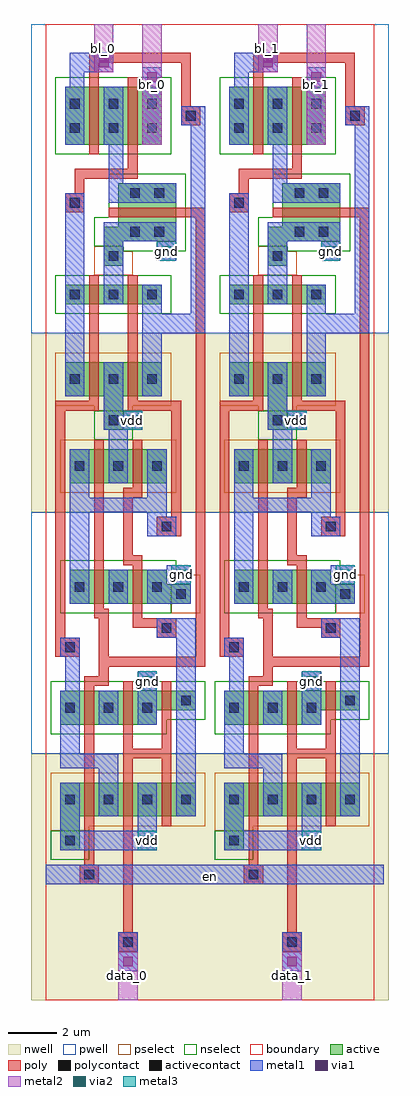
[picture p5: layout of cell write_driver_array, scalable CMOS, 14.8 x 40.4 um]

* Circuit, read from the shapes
.subckt write_driver_array bl_0 bl_1 br_0 br_1 data_0 data_1 en gnd vdd
M1 n1 en n2 gnd nfet w=1.4u l=0.4u
M2 gnd n2 n3 gnd nfet w=0.8u l=0.4u
M3 n4 n5 bl_0 gnd nfet w=2.4u l=0.4u
M4 n6 en n7 gnd nfet w=1.4u l=0.4u
M5 n4 en gnd gnd nfet w=2.4u l=0.4u
M6 gnd data_0 n1 gnd nfet w=1.4u l=0.4u
M7 n5 n7 gnd gnd nfet w=0.8u l=0.4u
M8 br_0 n3 n4 gnd nfet w=2.4u l=0.4u
M9 gnd n8 n6 gnd nfet w=1.4u l=0.4u
M10 n8 data_0 gnd gnd nfet w=0.8u l=0.4u
M11 n9 en n10 gnd nfet w=1.4u l=0.4u
M12 gnd n10 n11 gnd nfet w=0.8u l=0.4u
M13 n12 n13 bl_1 gnd nfet w=2.4u l=0.4u
M14 n14 en n15 gnd nfet w=1.4u l=0.4u
M15 n12 en gnd gnd nfet w=2.4u l=0.4u
M16 gnd data_1 n9 gnd nfet w=1.4u l=0.4u
M17 n13 n15 gnd gnd nfet w=0.8u l=0.4u
M18 br_1 n11 n12 gnd nfet w=2.4u l=0.4u
M19 gnd n16 n14 gnd nfet w=1.4u l=0.4u
M20 n16 data_1 gnd gnd nfet w=0.8u l=0.4u
M21 n2 en vdd vdd pfet w=1.4u l=0.4u
M22 vdd n2 n3 vdd pfet w=1.4u l=0.4u
M23 vdd en n7 vdd pfet w=1.4u l=0.4u
M24 vdd data_0 n2 vdd pfet w=1.4u l=0.4u
M25 n5 n7 vdd vdd pfet w=1.4u l=0.4u
M26 n7 n8 vdd vdd pfet w=1.4u l=0.4u
M27 n8 data_0 vdd vdd pfet w=1.4u l=0.4u
M28 n10 en vdd vdd pfet w=1.4u l=0.4u
M29 vdd n10 n11 vdd pfet w=1.4u l=0.4u
M30 vdd en n15 vdd pfet w=1.4u l=0.4u
M31 vdd data_1 n10 vdd pfet w=1.4u l=0.4u
M32 n13 n15 vdd vdd pfet w=1.4u l=0.4u
M33 n15 n16 vdd vdd pfet w=1.4u l=0.4u
M34 n16 data_1 vdd vdd pfet w=1.4u l=0.4u
.ends

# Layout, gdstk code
import gdstk
lib = gdstk.Library(unit=1e-6, precision=1e-09)
def R(c, l, rs):  # rectangles x0, y0, x1, y1
    for r in rs: c.add(gdstk.rectangle(r[:2], r[2:], *l))
def A(c, l, x, y, w, h, nx, ny, dx, dy):  # array of equal rectangles
    R(c, l, [(x+i*dx, y+j*dy, x+i*dx+w, y+j*dy+h) for i in range(nx) for j in range(ny)])
pwell = (41, 0)
nwell = (42, 0)
active = (43, 0)
pselect = (44, 0)
nselect = (45, 0)
poly = (46, 0)
polycontact = (47, 0)
activecontact = (48, 0)
metal1 = (49, 0)
via1 = (50, 0)
metal2 = (51, 0)
via2 = (61, 0)
metal3 = (62, 0)
boundary = (63, 0)

write_driver = lib.new_cell('write_driver')
R(write_driver, pwell, [(-0.6,10.2,7.4,20.2), (-0.6,27.6,7.4,40.4)])
R(write_driver, nwell, [(-0.6,0,7.4,10.2), (-0.6,20.2,7.4,27.6)])
R(write_driver, active, [(0.6,6.2,1.4,7.6), (0.6,7.6,6.2,9), (0.6,11.4,4.6,12), (0.6,12,6.2,12.8), (1,16.4,6,17.2), (1,17.2,5,17.8), (1,21.4,5,22.8), (2.4,23.6,3.2,25), (0.8,25,4.8,26.4), (0.8,28.8,4.8,29.6), (2.4,30.4,3.2,31.4), (2.4,31.4,5.4,32), (3,32,5.4,33.8), (0.8,35.4,4.8,37.8)])
R(write_driver, pselect, [(0.2,7,1.8,7.2), (0.2,7.2,6.6,9.4), (5.2,16,6.4,17.2), (5.4,17.2,6.4,17.6), (0.6,21,5.4,23.2), (2,24.4,3.6,24.6), (0.4,24.6,5.2,26.8), (2,30,3.6,31), (2,31,3.2,31.2)])
R(write_driver, nselect, [(0.2,5.8,1.8,7), (0.2,11,5,11.6), (0.2,11.6,6.6,13.2), (0.6,16,5.2,17.2), (0.6,17.2,5.4,18.2), (2,23.2,3.6,24.4), (0.4,28.4,5.2,30), (3.2,31,5.8,31.2), (2,31.2,5.8,32.4), (2.6,32.4,5.8,34.2), (0.4,35,5.2,38.2)])
R(write_driver, poly, [(3,2,3.8,2.8), (3.2,2.8,3.6,10), (1.4,4.8,2.2,5.6), (1.6,5.6,2,13), (4.8,7.2,5.2,10), (3.2,10,5.2,10.4), (3.2,10.4,3.6,13.2), (4.8,10.4,5.2,13.2), (1.6,13,2.6,13.4), (2.2,13.4,2.6,13.8), (2.2,13.8,6.6,14.2), (0.4,14.2,1.4,15), (2.2,14.2,2.6,15.8), (6.2,14.2,6.6,32.4), (0.4,15,0.8,24.4), (4.6,15,5.4,15.4), (3.6,15.4,5.4,15.8), (2,15.8,2.6,16.2), (3.6,15.8,4,18), (2,16.2,2.4,23.2), (3.2,18,4,18.4), (3.2,18.4,3.6,20.8), (4.6,19.2,5.6,20), (5.2,20,5.6,24.4), (3.2,20.8,4,21.2), (3.6,21.2,4,23.2), (0.4,24.4,2.2,24.8), (3.4,24.4,5.6,24.8), (1.8,24.8,2.2,30), (3.4,24.8,3.8,30), (2.6,32.4,6.6,32.8), (0.8,32.6,1.6,33.4), (1.2,33.4,1.6,34), (1.2,34,3.8,34.4), (3.4,34.4,3.8,38.2), (1.8,35,2.2,38.8), (5.6,36.2,6.4,37), (5.6,37,6,38.8), (1.8,38.8,6,39.2)])
R(write_driver, polycontact, [(3.2,2.2,3.6,2.6), (1.6,5,2,5.4), (0.8,14.4,1.2,14.8), (4.8,15.2,5.2,15.6), (4.8,19.4,5.2,19.8), (1,32.8,1.4,33.2), (5.8,36.4,6.2,36.8)])
A(write_driver, activecontact, 0.8, 8.1, 0.4, 0.4, 4, 1, 1.6, 0)
A(write_driver, activecontact, 0.8, 11.9, 0.4, 0.4, 3, 1, 1.6, 0)
A(write_driver, activecontact, 1.2, 16.9, 0.4, 0.4, 3, 2, 1.6, 5)
A(write_driver, activecontact, 1, 25.5, 0.4, 0.4, 3, 2, 1.6, 3.5)
A(write_driver, activecontact, 1, 35.9, 0.4, 0.4, 3, 2, 1.6, 1)
R(write_driver, activecontact, [(0.8,6.4,1.2,6.8), (5.6,12.2,6,12.6), (5.4,16.6,5.8,17), (2.6,23.8,3,24.2), (2.6,30.6,3,31), (3.5,31.6,3.9,32), (4.5,31.6,4.9,32), (3.5,33.2,3.9,33.6), (4.5,33.2,4.9,33.6)])
R(write_driver, metal1, [(3,1.2,3.8,2.8), (0,4.8,7.2,5.6), (0,4.8,7.2,5.6), (0.6,6.2,4.6,7), (0.6,7,1.4,9), (3.8,7,4.6,9), (2.2,7.6,3,9.6), (5.4,7.6,6.2,15), (0.6,9.6,3,10.2), (0.6,10.2,1.4,12.8), (2.2,11.4,3,12.8), (3.8,11.4,4.6,13.6), (0.8,12.8,1.4,14.2), (0.6,14.2,1.4,15), (4.6,15,6.2,15.8), (1,16.4,1.8,20.2), (2.6,16.4,3.4,17.8), (4.2,16.4,6,17.8), (5,17.8,6,18), (4.2,19.2,5.4,20), (4.2,20,5,20.2), (1,20.2,5,20.8), (1,20.8,1.8,22.8), (4.2,20.8,5,22.8), (2.6,21.4,3.4,23.6), (2.4,23.6,4,24.4), (2.4,24.4,3.2,26.4), (0.8,25,1.6,33.4), (4,25,4.8,27.6), (4,27.6,6.6,28.4), (4,28.4,4.8,29.6), (6,28.4,6.6,36.2), (2.4,28.8,3.2,31.4), (4.6,30.6,5.4,31.4), (2.4,31.4,5.4,32.2), (2.6,33,5.4,33.8), (2.6,33.8,3.2,35.4), (0.8,35.4,1.6,37.8), (2.4,35.4,3.2,37.8), (4,35.4,4.8,38.6), (5.6,36.2,6.6,37), (1,37.8,1.6,38.4), (1,38.4,2.8,39.2)])
R(write_driver, via1, [(3.2,1.4,3.6,1.8), (4,6.4,4.4,6.8), (4,13,4.4,13.4), (5.4,17.4,5.8,17.8), (3.4,23.8,3.8,24.2), (4.8,30.8,5.2,31.2), (4.2,38,4.6,38.4), (2.2,38.6,2.6,39)])
R(write_driver, metal2, [(3,0,3.8,2), (3,0,3.8,2), (3.8,6.2,4.6,7), (3.8,6.2,4.6,7), (3.8,12.8,4.6,13.6), (3.8,12.8,4.6,13.6), (5.2,17.2,6,18), (5.2,17.2,6,18), (3.2,23.6,4,24.4), (3.2,23.6,4,24.4), (4.6,30.6,5.4,31.4), (4.6,30.6,5.4,31.4), (4,35.4,4.8,40.4), (4,35.4,4.8,40.4), (2,38.4,2.8,40.4), (2,38.4,2.8,40.4)])
R(write_driver, boundary, [(0,0,6.8,40.4)])
write_driver.add(gdstk.Label('din', (3,0.2), layer=51, texttype=0))
write_driver.add(gdstk.Label('en', (0.4,5), layer=49, texttype=0))
write_driver.add(gdstk.Label('bl', (2.4,40), layer=51, texttype=0))
write_driver.add(gdstk.Label('br', (4.4,40), layer=51, texttype=0))
write_driver.add(gdstk.Label('gnd', (4.2,13.2), layer=51, texttype=0))
write_driver.add(gdstk.Label('gnd', (5.6,17.6), layer=51, texttype=0))
write_driver.add(gdstk.Label('vdd', (4.2,6.6), layer=51, texttype=0))
write_driver.add(gdstk.Label('vdd', (3.6,24), layer=51, texttype=0))
write_driver.add(gdstk.Label('gnd', (5,31), layer=51, texttype=0))
write_driver.add(gdstk.Label('din', (3.4,1), layer=51, texttype=0))
write_driver.add(gdstk.Label('bl', (2.4,39.4), layer=51, texttype=0))
write_driver.add(gdstk.Label('br', (4.4,37.9), layer=51, texttype=0))
write_driver.add(gdstk.Label('en', (3.6,5.2), layer=49, texttype=0))
write_driver.add(gdstk.Label('gnd', (4.2,13.2), layer=51, texttype=0))
write_driver.add(gdstk.Label('gnd', (5.6,17.6), layer=51, texttype=0))
write_driver.add(gdstk.Label('gnd', (5,31), layer=51, texttype=0))
write_driver.add(gdstk.Label('vdd', (4.2,6.6), layer=51, texttype=0))
write_driver.add(gdstk.Label('vdd', (3.6,24), layer=51, texttype=0))

metal2_via2_metal3_1x1 = lib.new_cell('metal2_via2_metal3_1x1')
R(metal2_via2_metal3_1x1, metal2, [(0,0,0.8,0.8)])
R(metal2_via2_metal3_1x1, via2, [(0.2,0.2,0.6,0.6)])
R(metal2_via2_metal3_1x1, metal3, [(0,0,0.8,0.8)])

write_driver_array = lib.new_cell('write_driver_array')
R(write_driver_array, metal1, [(0,4.8,13.6,5.4)])
R(write_driver_array, metal2, [(3,0,3.8,2), (9.8,0,10.6,2), (4,35.4,4.8,40.4), (10.8,35.4,11.6,40.4), (2,38.4,2.8,40.4), (8.8,38.4,9.6,40.4)])
R(write_driver_array, metal3, [(3.9,6.3,4.5,6.9), (10.7,6.3,11.3,6.9), (3.9,12.9,4.5,13.5), (10.7,12.9,11.3,13.5), (5.3,17.3,5.9,17.9), (12.1,17.3,12.7,17.9), (3.3,23.7,3.9,24.3), (10.1,23.7,10.7,24.3), (4.7,30.7,5.3,31.3), (11.5,30.7,12.1,31.3)])
write_driver_array.add(gdstk.Reference(write_driver, (0,0)))
write_driver_array.add(gdstk.Reference(write_driver, (6.8,0)))
write_driver_array.add(gdstk.Reference(metal2_via2_metal3_1x1, (3.8,6.2)))
write_driver_array.add(gdstk.Reference(metal2_via2_metal3_1x1, (3.2,23.6)))
write_driver_array.add(gdstk.Reference(metal2_via2_metal3_1x1, (3.8,12.8)))
write_driver_array.add(gdstk.Reference(metal2_via2_metal3_1x1, (5.2,17.2)))
write_driver_array.add(gdstk.Reference(metal2_via2_metal3_1x1, (4.6,30.6)))
write_driver_array.add(gdstk.Reference(metal2_via2_metal3_1x1, (10.6,6.2)))
write_driver_array.add(gdstk.Reference(metal2_via2_metal3_1x1, (10,23.6)))
write_driver_array.add(gdstk.Reference(metal2_via2_metal3_1x1, (10.6,12.8)))
write_driver_array.add(gdstk.Reference(metal2_via2_metal3_1x1, (12,17.2)))
write_driver_array.add(gdstk.Reference(metal2_via2_metal3_1x1, (11.4,30.6)))
write_driver_array.add(gdstk.Label('data_0', (3.4,1), layer=51, texttype=0))
write_driver_array.add(gdstk.Label('bl_0', (2.4,39.4), layer=51, texttype=0))
write_driver_array.add(gdstk.Label('br_0', (4.4,37.9), layer=51, texttype=0))
write_driver_array.add(gdstk.Label('vdd', (4.2,6.6), layer=62, texttype=0))
write_driver_array.add(gdstk.Label('vdd', (3.6,24), layer=62, texttype=0))
write_driver_array.add(gdstk.Label('vdd', (11,6.6), layer=62, texttype=0))
write_driver_array.add(gdstk.Label('vdd', (10.4,24), layer=62, texttype=0))
write_driver_array.add(gdstk.Label('gnd', (4.2,13.2), layer=62, texttype=0))
write_driver_array.add(gdstk.Label('gnd', (5.6,17.6), layer=62, texttype=0))
write_driver_array.add(gdstk.Label('gnd', (5,31), layer=62, texttype=0))
write_driver_array.add(gdstk.Label('gnd', (11,13.2), layer=62, texttype=0))
write_driver_array.add(gdstk.Label('gnd', (12.4,17.6), layer=62, texttype=0))
write_driver_array.add(gdstk.Label('gnd', (11.8,31), layer=62, texttype=0))
write_driver_array.add(gdstk.Label('data_1', (10.2,1), layer=51, texttype=0))
write_driver_array.add(gdstk.Label('bl_1', (9.2,39.4), layer=51, texttype=0))
write_driver_array.add(gdstk.Label('br_1', (11.2,37.9), layer=51, texttype=0))
write_driver_array.add(gdstk.Label('en', (6.8,5.1), layer=49, texttype=0))

lib.write_gds('write_driver_array.gds')
